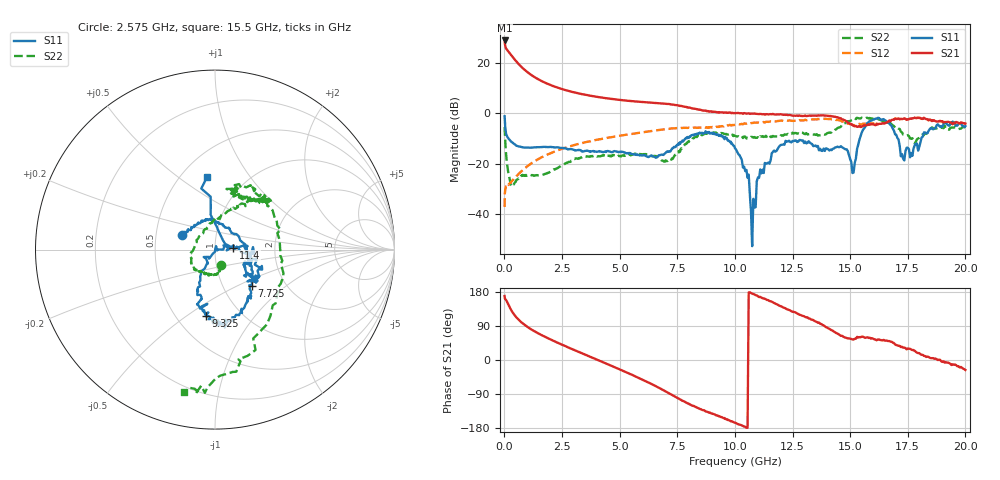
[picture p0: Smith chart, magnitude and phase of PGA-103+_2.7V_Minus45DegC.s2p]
!Mini-Circuits Laboratory
!S-Parameters, Port extension performed
!Model: PGA-103+
!Run / Lot / Date Code: N/A / BP170-001-01-101EV / 1210
!Fixture: TB-313
!Network Analyzer: PNA-X N5242A - 423 4 ports;  Serial number: 71013
!Date: 5/24/2012 at 5:20:04 PM
!S/N: Unit# 1
!Tested with: Vdd=2.7V at -45C
# Hz  S  dB  R  50
!Frequency  S11 dB  S11 Deg  S21 dB  S21 Deg  S12 dB  S12 Deg  S22 dB  S22 Deg
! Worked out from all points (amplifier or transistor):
!   660 points, 10 MHz to 20 GHz, reference 50 ohm
!   highest |S21| = 28.8 dB at 10 MHz (marker M1)
!   |S21| within 3 dB of that: start of sweep to 63.95 MHz
!   unconditionally stable (mu >= 1): 140.6 MHz to 11.64 GHz; 19.12 GHz to 19.49 GHz; 19.5 GHz to end of sweep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
!   at 1.275 GHz: K = 1.11, MAG = 14.9 dB, |S12| = -19.2 dB
!   at 6.775 GHz: K = 1.01, MAG = 4.8 dB, |S12| = -6.6 dB
!   at 20 GHz: K = 1.07, MAG = -1.6 dB, |S12| = -4.1 dB
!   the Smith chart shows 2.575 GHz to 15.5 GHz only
!   S11 on the Smith chart (normalised r, x): 2.575 GHz: 0.68, +0.12; 7.725 GHz: 1.37, -0.60; 9.325 GHz: 0.70, -0.60; 11.4 GHz: 1.22, +0.02; 15.5 GHz: 0.66, +0.65
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1e7  -1.23 -20.0  28.78 168.9  -37.11 56.7  -5.51 -25.7
5e7  -6.59 -41.6  26.15 159.9  -29.71 31.0  -13.16 -62.2
7e7  -7.87 -42.9  25.67 158.6  -29.23 23.7  -15.87 -65.0
2.7e8  -11.09 -74.8  23.33 134.5  -27.56 31.4  -27.95 -32.7
4.6e8  -12.40 -103.6  21.11 117.0  -25.57 39.8  -27.42 0.6
6.8e8  -13.27 -128.1  18.85 102.5  -23.50 44.8  -25.26 2.6
1e9  -13.58 -152.7  16.23 87.3  -21.00 47.1  -24.65 -5.8
1.3e9  -13.52 -168.7  14.32 76.0  -19.11 46.0  -24.71 -18.0
2.575e9  -13.81 156.0  9.32 38.4  -13.89 29.8  -20.44 -68.3
3.35e9  -15.12 141.7  7.54 18.2  -11.93 16.1  -17.57 -82.9
6.675e9  -16.97 37.8  3.97 -72.5  -6.71 -60.5  -17.52 -173.6
7.725e9  -10.85 -44.4  2.76 -107.7  -5.90 -93.0  -13.46 73.7
9.325e9  -8.60 -97.5  0.39 -149.2  -5.27 -135.9  -7.73 41.6
1.005e10  -14.40 -115.4  0.04 -166.5  -4.54 -154.3  -9.16 52.9
1.08e10  -33.91 73.6  -0.22 174.0  -3.85 -175.3  -9.69 65.1
1.14e10  -19.87 5.2  -0.43 158.3  -3.41 168.1  -9.78 70.6
1.335e10  -12.25 -37.4  -0.96 106.4  -2.48 114.3  -8.45 28.8
1.51e10  -23.70 28.8  -4.72 54.5  -4.62 66.8  -2.68 -90.9
1.55e10  -7.76 96.0  -5.40 61.6  -4.52 66.8  -1.81 -102.4
1.67e10  -4.13 39.0  -3.00 49.9  -2.94 50.1  -3.84 -105.3
1.735e10  -18.70 78.0  -2.11 32.6  -2.11 32.9  -8.54 -83.2
2e10  -5.10 105.6  -4.13 -26.4  -4.12 -26.3  -5.23 -13.9
